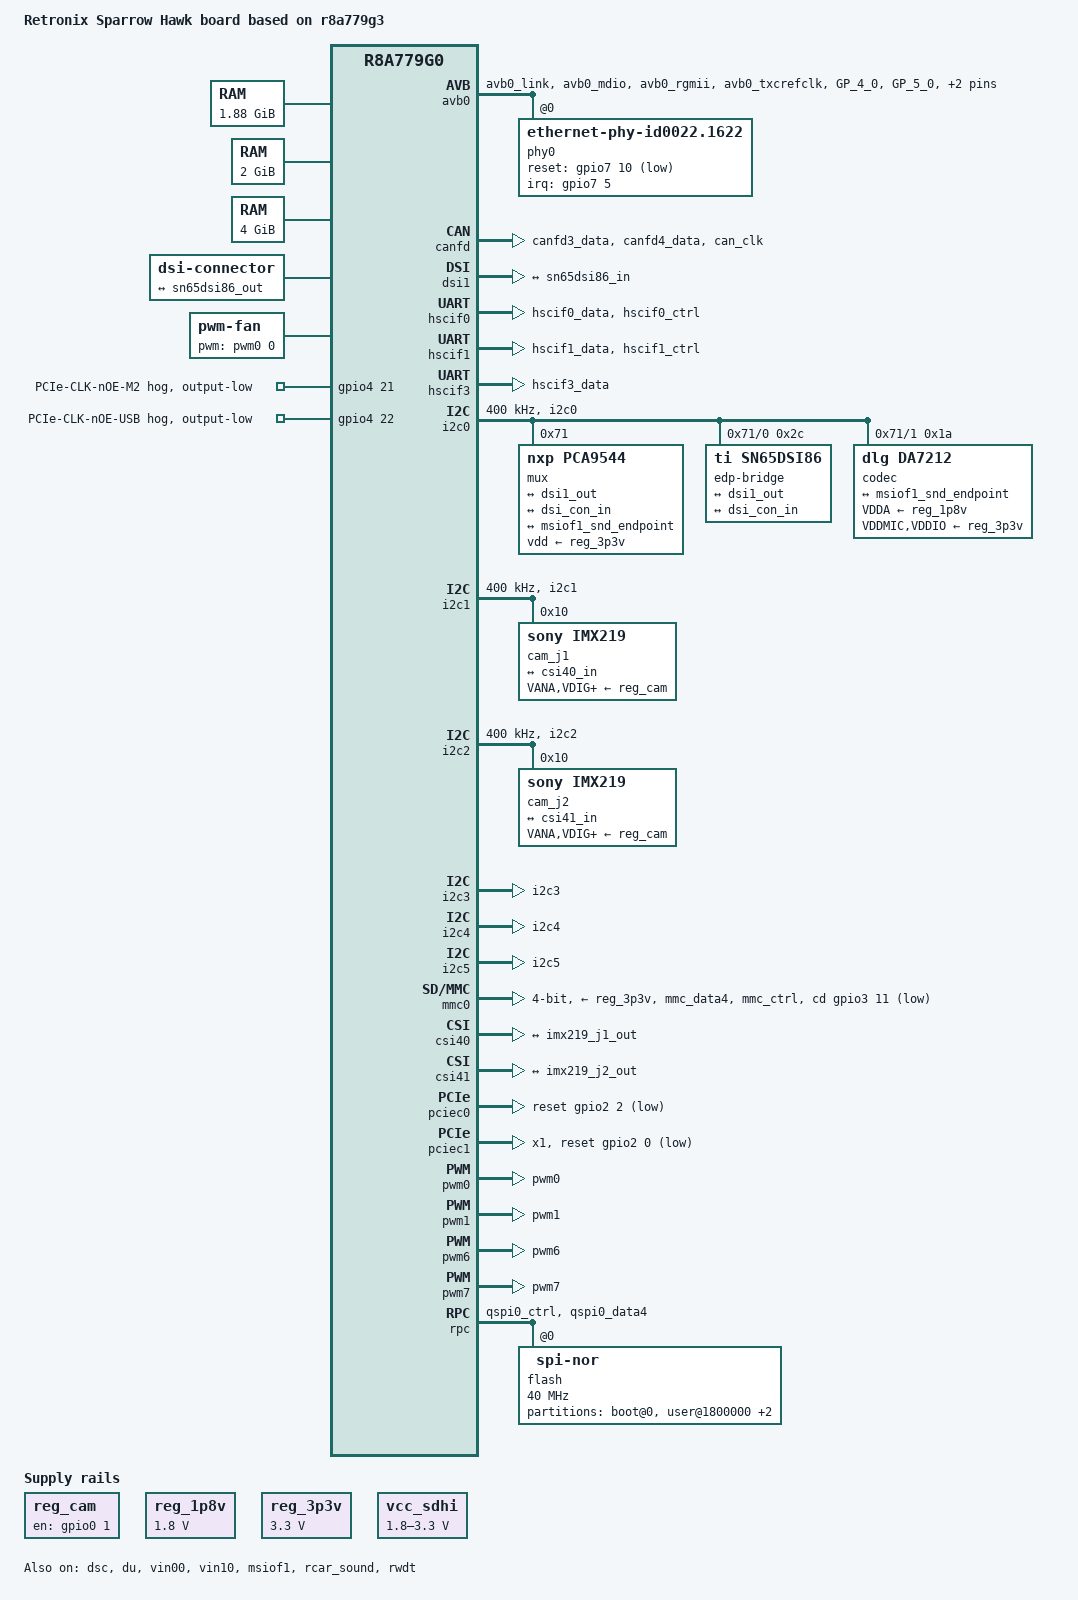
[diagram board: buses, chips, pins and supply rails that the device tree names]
// SPDX-License-Identifier: (GPL-2.0-only OR BSD-2-Clause)
/*
 * Device Tree Source for the R-Car V4H-7 Sparrow Hawk board
 *
 * Copyright (C) 2024 Renesas Electronics Corp.
 */

/dts-v1/;
#include <dt-bindings/gpio/gpio.h>
#include <dt-bindings/media/r8a779g0-csi2.h>
#include "r8a779g3.dtsi"
#include <dt-bindings/media/video-interfaces.h>

/ {
	model = "Retronix Sparrow Hawk board based on r8a779g3";
	compatible = "retronix,sparrow-hawk", "renesas,r8a779g3",
		     "renesas,r8a779g0";

	aliases {
		ethernet0 = &avb0;
		serial0 = &hscif0;
	};

	chosen {
		stdout-path = "serial0:921600n8";
	};

	reserved-memory {
		#address-cells = <2>;
		#size-cells = <2>;
		ranges;

		vdsp0_region: linux,vdsp0_region@5d000000 {
			compatible = "shared-dma-pool";
			reusable;
			reg = <0x00000000 0x5d000000 0x0 0x00800000>;
		};

		vdsp1_region: linux,vdsp1_region@5d800000 {
			compatible = "shared-dma-pool";
			reusable;
			reg = <0x00000000 0x5d800000 0x0 0x00800000>;
		};

		vdsp2_region: linux,vdsp2_region@5e000000 {
			compatible = "shared-dma-pool";
			reusable;
			reg = <0x00000000 0x5e000000 0x0 0x00800000>;
		};

		vdsp3_region: linux,vdsp3_region@5e800000 {
			compatible = "shared-dma-pool";
			reusable;
			reg = <0x00000000 0x5e800000 0x0 0x00800000>;
		};

		pap_region: linux,pap_region@5f000000 {
			compatible = "shared-dma-pool";
			reusable;
			reg = <0x00000000 0x5f000000 0x0 0x00400000>;
		};

		/* region for cr core application */
		cr_region: linux,cr_region@60000000 {
			no-map;
			reg = <0x00000000 0x60000000 0x0 0x20000000>;
		};

		/* global autoconfigured region for contiguous allocations */
		linux,cma@80000000 {
			compatible = "shared-dma-pool";
			reusable;
			reg = <0x00000000 0x80000000 0x0 0x23000000>;
			linux,cma-default;
		};

		region_40bit_ecc_off_0: ecc_off_region@4b00000000 {
			compatible = "shared-dma-pool";
			no-map;
			reg = <0x4 0xb0000000 0x0 0x10000000>;
		};

		region_40bit_ecc_off_1: ecc_off_region@4c00000000 {
			compatible = "shared-dma-pool";
			no-map;
			reg = <0x4 0xc0000000 0x0 0x10000000>;
		};

		region_40bit: linux,region_40bit@600000000 {
			compatible = "shared-dma-pool";
			reusable;
			reg = <0x6 0x00000000 0x0 0x40000000>;
		};

		ecc_data_region@4d0000000 {
			no-map;
			reg = <0x4 0xd0000000 0x0 0x30000000>;
		};

		ecc_data_region@6b0000000 {
			no-map;
			reg = <0x6 0xb0000000 0x0 0x50000000>;
		};
	};

	/* Page 15 / LPDDR5 */
	memory@48000000 {
		device_type = "memory";
		/* first 128MB is reserved for secure area. */
		reg = <0x0 0x48000000 0x0 0x78000000>;
	};

	memory@480000000 {
		device_type = "memory";
		reg = <0x4 0x80000000 0x0 0x80000000>;
	};

	memory@600000000 {
		device_type = "memory";
		reg = <0x6 0x00000000 0x1 0x00000000>;
	};

	soc: soc {
		du0 {
			status = "disabled";
		};

		du_01 {
			status = "disabled";
		};

		dsi0 {
			status = "disabled";
		};

		dsc@feb8d000 {
			status = "disabled";
		};

		dsi1 {
			status = "disabled";
		};
	};

	/* Page 27 / DSI to Display */
	dsi-con {
		compatible = "dsi-connector";

		port {
			dsi_con_in: endpoint {
				remote-endpoint = <&sn65dsi86_out>;
			};
		};
	};

	cmem {
		memory-region = <&vdsp0_region>, <&vdsp1_region>,
				<&vdsp2_region>, <&vdsp3_region>,
				<&pap_region>, <&region_40bit>,
				<&region_40bit_ecc_off_0>, <&region_40bit_ecc_off_1>;
	};

	clk_cam: clk-cam {
		compatible = "fixed-clock";
		#clock-cells = <0>;
		clock-frequency = <24000000>;
	};

	/* Page 29 / CSI_IF_CN / J1 */
	reg_cam: reg-cam {
		compatible = "regulator-fixed";
		regulator-name = "cam";
		enable-active-high;
		gpios = <&gpio0 1 GPIO_ACTIVE_HIGH>;
	};

	reg_1p8v: regulator-1p8v {
		compatible = "regulator-fixed";
		regulator-name = "fixed-1.8V";
		regulator-min-microvolt = <1800000>;
		regulator-max-microvolt = <1800000>;
		regulator-boot-on;
		regulator-always-on;
	};

	reg_3p3v: regulator-3p3v {
		compatible = "regulator-fixed";
		regulator-name = "fixed-3.3V";
		regulator-min-microvolt = <3300000>;
		regulator-max-microvolt = <3300000>;
		regulator-boot-on;
		regulator-always-on;
	};

	/* Page 30 / Audio_Codec */
	sound_card: sound {
		compatible = "audio-graph-card";
		label = "msiof-sound";
		dais = <&msiof1_snd>;
	};

	/* Page 17 uSD-Slot */
	vcc_sdhi: regulator-vcc-sdhi {
		compatible = "regulator-gpio";
		regulator-name = "SDHI VccQ";
		regulator-min-microvolt = <1800000>;
		regulator-max-microvolt = <3300000>;
		gpios = <&gpio8 13 GPIO_ACTIVE_HIGH>;
		gpio-states = <1>;
		states = <1800000 0>, <3300000 1>;
	};

	/* Page 31 / FAN */
	fan: pwm-fan {
		compatible = "pwm-fan";
		cooling-levels = <0 50 100 150 200 255>;

		/* Four pulses of tacho signal per one revolution */
		pulses-per-revolutions = <4>;

		/* PWM period: 100us ~= 10kHz */
		pwms = <&pwm0 0 100000>;
	};
};

/* Page 22 / Ether_AVB0 */
&avb0 {
	pinctrl-0 = <&avb0_pins>;
	pinctrl-names = "default";
	phy-handle = <&phy0>;
	tx-internal-delay-ps = <2000>;
	status = "okay";

	phy0: ethernet-phy@0 {
		compatible = "ethernet-phy-id0022.1622",
			     "ethernet-phy-ieee802.3-c22";
		rxc-skew-ps = <1500>;
		reg = <0>;
		interrupt-parent = <&gpio7>;
		interrupts = <5 IRQ_TYPE_LEVEL_LOW>;
		reset-gpios = <&gpio7 10 GPIO_ACTIVE_LOW>;
		reset-assert-us = <10000>;
		reset-deassert-us = <300>;
	};
};

/* Page 28 / CANFD_IF */
&canfd {
	pinctrl-0 = <&canfd3_pins>, <&canfd4_pins>, <&can_clk_pins>;
	pinctrl-names = "default";

	status = "okay";

	channel3 {
		status = "okay";
	};

	channel4 {
		status = "okay";
	};
};

/* Page 27 / DSI to Display */
&dsi1 {
	status = "okay";

	ports {
		port@1 {
			dsi1_out: endpoint {
				remote-endpoint = <&sn65dsi86_in>;
				data-lanes = <1 2 3 4>;		
			};
		};
	};
};

&dsc {
	status = "okay";
};

/* Page 27 / DSI to Display */
&du {
	status = "okay";
};

/* Page 5 / R-Car V4H_INT_I2C */
&extal_clk {
	clock-frequency = <16666666>;
};

/* Page 5 / R-Car V4H_INT_I2C */
&extalr_clk {
	clock-frequency = <32768>;
};

/* Page 26 / 2230 Key M M.2 */
&gpio4 {
	/* 9FGV0441 nOE inputs 0 and 1 */
	pcie-m2-oe-hog {
		gpio-hog;
		gpios = <21 GPIO_ACTIVE_HIGH>;
		output-low;
		line-name = "PCIe-CLK-nOE-M2";
	};

	/* 9FGV0441 nOE inputs 2 and 3 */
	pcie-usb-oe-hog {
		gpio-hog;
		gpios = <22 GPIO_ACTIVE_HIGH>;
		output-low;
		line-name = "PCIe-CLK-nOE-USB";
	};
};

/* Page 23 / DEBUG */
&hscif0 {
	pinctrl-0 = <&hscif0_pins>;
	pinctrl-names = "default";
	uart-has-rtscts;
	
	status = "okay";
};

&hscif1 {
	pinctrl-0 = <&hscif1_pins>;
	pinctrl-names = "default";
	uart-has-rtscts;

	status = "okay";
};

/* Page 31 / IO_CN */
&hscif3 {	/* CN7 pins 8 (TX) and 10 (RX) */
	pinctrl-0 = <&hscif3_pins>;
	pinctrl-name = "default";

	status = "okay";
};

/* Page 24 / I2C SWITCH */
&i2c0 {
	pinctrl-0 = <&i2c0_pins>;
	pinctrl-names = "default";
	clock-frequency = <400000>;
	status = "okay";

	mux@71 {
		compatible = "nxp,pca9544";   /* TCA9544 */
		reg = <0x71>;
		#address-cells = <1>;
		#size-cells = <0>;
		vdd-supply = <&reg_3p3v>;

		i2c0_mux_ch0: i2c@0 {
			#address-cells = <1>;
			#size-cells = <0>;
			reg = <0>;
		};

		i2c0_mux_ch1: i2c@1 {
			#address-cells = <1>;
			#size-cells = <0>;
			reg = <1>;
		};

		i2c0_mux_ch2: i2c@2 {
			#address-cells = <1>;
			#size-cells = <0>;
			reg = <2>;
		};

		i2c0_mux_ch3: i2c@3 {
			#address-cells = <1>;
			#size-cells = <0>;
			reg = <3>;
		};
	};
};

&ref_clk {
	clock-frequency = <38400000>;
};

&i2c0_mux_ch0 {
	/* Page 27 / DSI to Display */
	edp-bridge@2c {
		compatible = "ti,sn65dsi86";
		reg = <0x2c>;

		clocks = <&ref_clk>;
		clock-names = "refclk";
		dp-connector;
		no-use-gpio;
		no-use-scramble;
		hpd-poll;

		ports {
			#address-cells = <1>;
			#size-cells = <0>;

			port@0 {
				reg = <0>;
				sn65dsi86_in: endpoint {
					remote-endpoint = <&dsi1_out>;
				};
			};

			port@1 {
				reg = <1>;
				sn65dsi86_out: endpoint {
					remote-endpoint = <&dsi_con_in>;
				};
			};
		};
	};
};

&i2c0_mux_ch1 {
	/* Page 30 / Audio_Codec */
	codec@1a {
		compatible = "dlg,da7212";

		#sound-dai-cells = <0>;
		reg = <0x1a>;

		clocks = <&rcar_sound>;
		clock-names = "mclk";

		VDDA-supply = <&reg_1p8v>;
		VDDMIC-supply = <&reg_3p3v>;
		VDDIO-supply = <&reg_3p3v>;

		port {
			da7212_endpoint: endpoint {
				bitclock-master;
				frame-master;
				remote-endpoint = <&msiof1_snd_endpoint>;
			};
		};
	};
};

/* Page 29 / CSI_IF_CN / CAM_CN0 */
&i2c1 {
	pinctrl-0 = <&i2c1_pins>;
	pinctrl-names = "default";
	clock-frequency = <400000>;
	status = "okay";

	cam_j1@10 {
		compatible = "sony,imx219";
		reg = <0x10>;
		clocks = <&clk_cam>;

		VANA-supply = <&reg_cam>;
		VDIG-supply = <&reg_cam>;
		VDDL-supply = <&reg_cam>;

		orientation = <2>;
		rotation = <0>;

		port@0 {
			imx219_j1_out: endpoint {
				clock-noncontinuous;
				link-frequencies = /bits/ 64 <456000000>;
				data-lanes = <1 2>;
				remote-endpoint = <&csi40_in>;
			};
		};
	};
};

/* Page 29 / CSI_IF_CN / CAM_CN1 */
&i2c2 {
	pinctrl-0 = <&i2c2_pins>;
	pinctrl-names = "default";
	clock-frequency = <400000>;
	status = "okay";

	cam_j2@10 {
		compatible = "sony,imx219";
		reg = <0x10>;
		clocks = <&clk_cam>;

		VANA-supply = <&reg_cam>;
		VDIG-supply = <&reg_cam>;
		VDDL-supply = <&reg_cam>;

		orientation = <2>;
		rotation = <0>;

		port@0 {
			imx219_j2_out: endpoint {
				clock-noncontinuous;
				link-frequencies = /bits/ 64 <456000000>;
				data-lanes = <1 2>;
				remote-endpoint = <&csi41_in>;
			};
		};
	};
};

/* Page 31 / IO_CN */
&i2c3 {
	pinctrl-0 = <&i2c3_pins>;
	pinctrl-names = "default";
	status = "okay";
};

/* Page 31 / IO_CN */
&i2c4 {
	pinctrl-0 = <&i2c4_pins>;
	pinctrl-names = "default";
	status = "okay";
};

/* Page 18 / POWER_CORE and Page 19 / POWER_PMIC */
&i2c5 {
	pinctrl-0 = <&i2c5_pins>;
	pinctrl-names = "default";
	status = "okay";
};

/* Page 17 uSD-Slot */
&mmc0 {
	pinctrl-0 = <&sd_pins>;
	pinctrl-1 = <&sd_uhs_pins>;
	pinctrl-names = "default", "state_uhs";
	bus-width = <4>;
	cd-gpios = <&gpio3 11 GPIO_ACTIVE_LOW>;
	sd-uhs-sdr50;
	sd-uhs-sdr104;
	vmmc-supply = <&reg_3p3v>;
	vqmmc-supply = <&vcc_sdhi>;
	status = "okay";
};

&vin00 {
	status = "okay";
};

&vin10 {
	status = "okay";
};

/* Page 29 / CSI_IF_CN */
&csi40 {
	status = "okay";

	ports {
		#address-cells = <1>;
		#size-cells = <0>;

		port@0 {
			reg = <0>;

			csi40_in: endpoint {
				bus-type = <MEDIA_BUS_TYPE_CSI2_DPHY>;
				clock-lanes = <0>;
				data-lanes = <1 2>;
				remote-endpoint = <&imx219_j1_out>;
			};
		};
	};
};

/* Page 29 / CSI_IF_CN */
&csi41 {
	status = "okay";

	ports {
		#address-cells = <1>;
		#size-cells = <0>;

		port@0 {
			reg = <0>;

			csi41_in: endpoint {
				bus-type = <MEDIA_BUS_TYPE_CSI2_DPHY>;
				clock-lanes = <0>;
				data-lanes = <1 2>;
				remote-endpoint = <&imx219_j2_out>;
			};
		};
	};
};

&msiof1 {
	pinctrl-0 = <&msiof1_pins>;
	pinctrl-names = "default";

	status = "okay";

	msiof1_snd: port {
		reg = <0>;
    		msiof1_snd_endpoint: endpoint {
			dai-format = "i2s";
			remote-endpoint = <&da7212_endpoint>;		     
		};		
	};
};

/* Page 25 / PCIe to USB */
&pciec0 {
	reset-gpios = <&gpio2 2 GPIO_ACTIVE_LOW>;
	status = "okay";
};

&pciec1 {
	num-lanes = <1>;
	reset-gpios = <&gpio2 0 GPIO_ACTIVE_LOW>;
	status = "okay";
};

&pfc {
	pinctrl-0 = <&scif_clk_pins>;
	pinctrl-names = "default";

	/* Page 22 / Ether_AVB0 */
	avb0_pins: avb0 {
		mux {
			groups = "avb0_link", "avb0_mdio", "avb0_rgmii",
			         "avb0_txcrefclk";
			function = "avb0";
		};

		pins-mdio {
			groups = "avb0_mdio";
			drive-strength = <21>;
		};

		pins-mii {
			groups = "avb0_rgmii";
			drive-strength = <21>;
		};

		pins-vddq18-25-avb {
			pins = "GP_4_0", "GP_5_0", "GP_6_0", "GP_7_0";
			power-source = <1800>;
		};
	};

	/* Page 28 / CANFD_IF */
	can_clk_pins: can-clk {
		groups = "can_clk";
		function = "can_clk";
	};

	/* Page 28 / CANFD_IF */
	canfd3_pins: canfd3 {
		groups = "canfd3_data";
		function = "canfd3";
	};

	/* Page 28 / CANFD_IF */
	canfd4_pins: canfd4 {
		groups = "canfd4_data";
		function = "canfd4";
	};

	/* Page 23 / DEBUG */
	hscif0_pins: hscif0 {
		groups = "hscif0_data", "hscif0_ctrl";
		function = "hscif0";
	};

	/* Page 23 / DEBUG */
	hscif1_pins: hscif1 {
		groups = "hscif1_data", "hscif1_ctrl";
		function = "hscif1";
	};

	/* Page 24 / UART */
	hscif3_pins: hscif3 {
		groups = "hscif3_data";
		function = "hscif3";
	};

	/* Page 24 / I2C SWITCH */
	i2c0_pins: i2c0 {
		groups = "i2c0";
		function = "i2c0";
	};

	/* Page 29 / CSI_IF_CN / CAM_CN0 */
	i2c1_pins: i2c1 {
		groups = "i2c1";
		function = "i2c1";
	};

	/* Page 29 / CSI_IF_CN / CAM_CN0 */
	i2c2_pins: i2c2 {
		groups = "i2c2";
		function = "i2c2";
	};

	/* Page 31 / IO_CN */
	i2c3_pins: i2c3 {
		groups = "i2c3";
		function = "i2c3";
	};

	/* Page 31 / IO_CN */
	i2c4_pins: i2c4 {
		groups = "i2c4";
		function = "i2c4";
	};

	/* Page 18 / POWER_CORE */
	i2c5_pins: i2c5 {
		groups = "i2c5";
		function = "i2c5";
	};

	/* Page 31 / FAN */
	pwm0_pins: pwm0 {
		groups = "pwm0";
		function = "pwm0";
	};
	
	/* Page 31 / CN7 pin 12 */
	pwm1_pins: pwm1 {
		groups = "pwm1";
		function = "pwm1";
	};

	/* Page 31 / CN7 pin 32 */
	pwm6_pins: pwm6 {
		groups = "pwm6";
		function = "pwm6";
	};

	/* Page 31 / CN7 pin 33 */
	pwm7_pins: pwm7 {
		groups = "pwm7";
		function = "pwm7";
	};

	/* Page 16 / QSPI_FLASH */
	qspi_pins: qspi0 {
		groups = "qspi0_ctrl", "qspi0_data4";
		function = "qspi0";
	};

	/* Page 6 / SCIF_CLK_SOC_V */
	scif_clk_pins: scif-clk {
		groups = "scif_clk";
		function = "scif_clk";
	};

	/* Page 17 uSD-Slot */
	sd_pins: sd {
		groups = "mmc_data4", "mmc_ctrl";
		function = "mmc";
		power-source = <3300>;
	};

	/* Page 17 uSD-Slot */
	sd_uhs_pins: sd-uhs {
		groups = "mmc_data4", "mmc_ctrl";
		function = "mmc";
		power-source = <1800>;
	};

	/* Page 30 / Audio_Codec */
	msiof1_pins: sound {
		groups = "msiof1_clk", "msiof1_sync", "msiof1_txd", "msiof1_rxd";
		function = "msiof1";
	};

	/* Page 30 / Audio_Codec */
	sound_clk_pins: sound-clk {
		groups = "audio_clkin", "audio_clkout";
		function = "audio_clk";
	};	
};

/* Page 31 / FAN */
&pwm0 {
	pinctrl-0 = <&pwm0_pins>;
	pinctrl-names = "default";
	status = "okay";
};

/* Page 31 / CN7 pin 12 */
&pwm1 {
	pinctrl-0 = <&pwm1_pins>;
	pinctrl-names = "default";
	status = "okay";
};

/* Page 31 / CN7 pin 32 */
&pwm6 {
	pinctrl-0 = <&pwm6_pins>;
	pinctrl-names = "default";
	status = "okay";
};

/* Page 31 / CN7 pin 33 */
&pwm7 {
	pinctrl-0 = <&pwm7_pins>;
	pinctrl-names = "default";
	status = "okay";
};

/* Page 30 / Audio_Codec */
&rcar_sound {
	pinctrl-0 = <&sound_clk_pins>;
	pinctrl-names = "default";

	/* It is used for ADG output as DA7212_MCLK */

	/* audio_clkout */
	#clock-cells = <0>;
	clock-frequency = <12288000>; /* 48kHz groups */

	status = "okay";
};

/* Page 16 / QSPI_FLASH */
&rpc {
	pinctrl-0 = <&qspi_pins>;
	pinctrl-names = "default";

	status = "okay";

	flash@0 {
		compatible = "jedec, spi-nor";
		reg = <0>;
		spi-max-frequency = <40000000>;
		spi-rx-bus-width = <4>;
		spi-tx-bus-width = <4>;

		partitions {
			compatible = "fixed-partitions";
			#address-cells = <1>;
			#size-cells = <1>;

			boot@0 {
				reg = <0x0 0x1800000>;
				read-only;
			};

			user@1800000 {
				reg = <0x1800000 0x2780000>;
			};

			env1@3f80000 {
				reg = <0x3f80000 0x40000>;
			};

			env2@3fc0000 {
				reg = <0x3fc0000 0x40000>;
			};
		};
	};
};

&rwdt {
	timeout-sec = <60>;
	status = "okay";
};

/* Page 6 / SCIF_CLK_SOC_V */
&scif_clk {
	clock-frequency = <24000000>;
};

